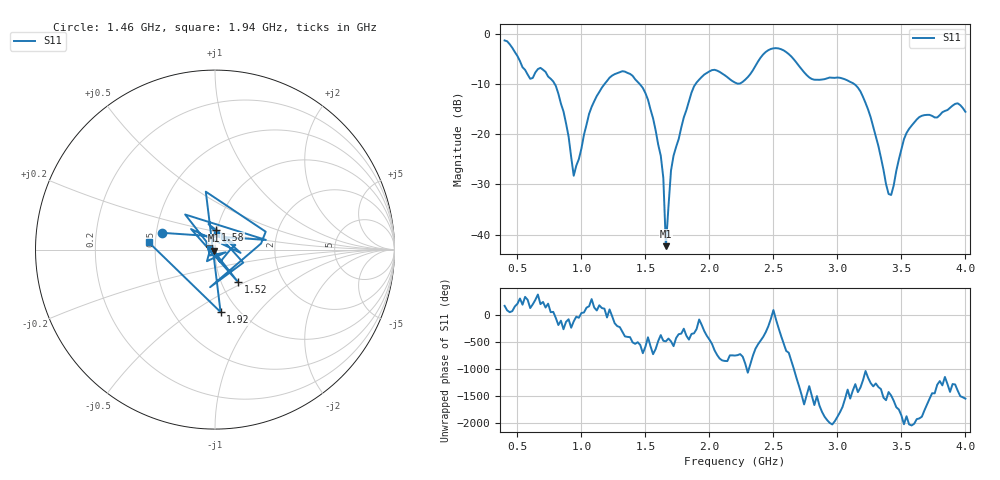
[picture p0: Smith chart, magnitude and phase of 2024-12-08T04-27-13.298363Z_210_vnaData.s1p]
!Created with skrf (http://scikit-rf.org).
# Hz S RI R 50.0
!freq ReS11 ImS11
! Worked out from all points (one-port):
!   181 points, 400 MHz to 4 GHz, reference 50 ohm
!   lowest |S11| = -42.3 dB at 1.66 GHz (marker M1), VSWR 1.02, Z = 49.5 - j0.583 ohm
!   |S11| at or under -10 dB: 791.4 MHz to 1.181 GHz (389.7 MHz wide, 39.5 % of centre); 1.455 GHz to 1.892 GHz (437.8 MHz wide, 26.2 % of centre); 3.13 GHz to end of sweep
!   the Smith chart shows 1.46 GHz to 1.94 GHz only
!   S11 on the Smith chart (normalised r, x): 1.46 GHz: 0.53, +0.11; 1.52 GHz: 1.20, -0.45; 1.58 GHz: 0.98, +0.22; 1.92 GHz: 0.83, -0.66; 1.94 GHz: 0.46, +0.04
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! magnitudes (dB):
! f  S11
! 400 MHz  -1.3
! 600 MHz  -9.0
! 720 MHz  -7.6
! 860 MHz  -15.5
! 940 MHz  -28.3
! 1.08 GHz  -14.6
! 1.3 GHz  -7.6
! 1.46 GHz  -10.1
! 1.52 GHz  -13.1
! 1.58 GHz  -19.2
! 1.64 GHz  -28.7
! 1.66 GHz  -42.3
! 1.7 GHz  -27.2
! 1.76 GHz  -21.0
! 1.86 GHz  -11.7
! 1.92 GHz  -9.1
! 1.94 GHz  -8.6
! 2.04 GHz  -7.2
! 2.2 GHz  -9.7
! 2.48 GHz  -3.0
! 2.66 GHz  -5.1
! 2.8 GHz  -9.0
! 3.1 GHz  -9.6
! 3.24 GHz  -15.1
! 3.4 GHz  -31.9
! 3.56 GHz  -18.9
! 3.92 GHz  -14.0
! 4 GHz  -15.5
